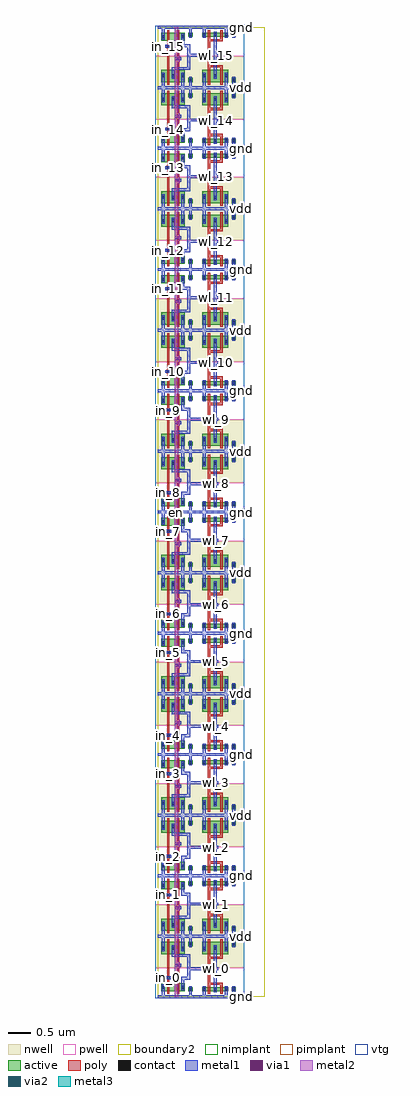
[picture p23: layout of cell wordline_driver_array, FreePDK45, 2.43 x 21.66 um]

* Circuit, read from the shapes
.subckt wordline_driver_array en gnd in_0 in_1 in_10 in_11 in_12 in_13 in_14 in_15 in_2 in_3 in_4 in_5 in_6 in_7 in_8 in_9 vdd wl_0 wl_1 wl_10 wl_11 wl_12 wl_13 wl_14 wl_15 wl_2 wl_3 wl_4 wl_5 wl_6 wl_7 wl_8 wl_9
M1 wordline_driver_0/pnand2_0/nmos_m1_w0_180_sm1_dactive_2/D in_0 gnd gnd nfet w=0.18u l=0.05u
M2 wordline_driver_1/pnand2_0/nmos_m1_w0_180_sm1_dactive_2/D in_1 gnd gnd nfet w=0.18u l=0.05u
M3 wordline_driver_2/pnand2_0/nmos_m1_w0_180_sm1_dactive_2/D in_2 gnd gnd nfet w=0.18u l=0.05u
M4 wordline_driver_3/pnand2_0/nmos_m1_w0_180_sm1_dactive_2/D in_3 gnd gnd nfet w=0.18u l=0.05u
M5 wordline_driver_4/pnand2_0/nmos_m1_w0_180_sm1_dactive_2/D in_4 gnd gnd nfet w=0.18u l=0.05u
M6 wordline_driver_5/pnand2_0/nmos_m1_w0_180_sm1_dactive_2/D in_5 gnd gnd nfet w=0.18u l=0.05u
M7 wordline_driver_6/pnand2_0/nmos_m1_w0_180_sm1_dactive_2/D in_6 gnd gnd nfet w=0.18u l=0.05u
M8 wordline_driver_7/pnand2_0/nmos_m1_w0_180_sm1_dactive_2/D in_7 gnd gnd nfet w=0.18u l=0.05u
M9 wordline_driver_8/pnand2_0/nmos_m1_w0_180_sm1_dactive_2/D in_8 gnd gnd nfet w=0.18u l=0.05u
M10 wordline_driver_9/pnand2_0/nmos_m1_w0_180_sm1_dactive_2/D in_9 gnd gnd nfet w=0.18u l=0.05u
M11 wordline_driver_10/pnand2_0/nmos_m1_w0_180_sm1_dactive_2/D in_10 gnd gnd nfet w=0.18u l=0.05u
M12 wordline_driver_11/pnand2_0/nmos_m1_w0_180_sm1_dactive_2/D in_11 gnd gnd nfet w=0.18u l=0.05u
M13 wordline_driver_12/pnand2_0/nmos_m1_w0_180_sm1_dactive_2/D in_12 gnd gnd nfet w=0.18u l=0.05u
M14 wordline_driver_13/pnand2_0/nmos_m1_w0_180_sm1_dactive_2/D in_13 gnd gnd nfet w=0.18u l=0.05u
M15 wordline_driver_14/pnand2_0/nmos_m1_w0_180_sm1_dactive_2/D in_14 gnd gnd nfet w=0.18u l=0.05u
M16 wordline_driver_15/pnand2_0/nmos_m1_w0_180_sm1_dactive_2/D in_15 gnd gnd nfet w=0.18u l=0.05u
M17 wordline_driver_0/pinv_0_1/A en wordline_driver_0/pnand2_0/nmos_m1_w0_180_sm1_dactive_2/D gnd nfet w=0.18u l=0.05u
M18 wordline_driver_1/pinv_0_1/A en wordline_driver_1/pnand2_0/nmos_m1_w0_180_sm1_dactive_2/D gnd nfet w=0.18u l=0.05u
M19 wordline_driver_2/pinv_0_1/A en wordline_driver_2/pnand2_0/nmos_m1_w0_180_sm1_dactive_2/D gnd nfet w=0.18u l=0.05u
M20 wordline_driver_3/pinv_0_1/A en wordline_driver_3/pnand2_0/nmos_m1_w0_180_sm1_dactive_2/D gnd nfet w=0.18u l=0.05u
M21 wordline_driver_4/pinv_0_1/A en wordline_driver_4/pnand2_0/nmos_m1_w0_180_sm1_dactive_2/D gnd nfet w=0.18u l=0.05u
M22 wordline_driver_5/pinv_0_1/A en wordline_driver_5/pnand2_0/nmos_m1_w0_180_sm1_dactive_2/D gnd nfet w=0.18u l=0.05u
M23 wordline_driver_6/pinv_0_1/A en wordline_driver_6/pnand2_0/nmos_m1_w0_180_sm1_dactive_2/D gnd nfet w=0.18u l=0.05u
M24 wordline_driver_7/pinv_0_1/A en wordline_driver_7/pnand2_0/nmos_m1_w0_180_sm1_dactive_2/D gnd nfet w=0.18u l=0.05u
M25 wordline_driver_8/pinv_0_1/A en wordline_driver_8/pnand2_0/nmos_m1_w0_180_sm1_dactive_2/D gnd nfet w=0.18u l=0.05u
M26 wordline_driver_9/pinv_0_1/A en wordline_driver_9/pnand2_0/nmos_m1_w0_180_sm1_dactive_2/D gnd nfet w=0.18u l=0.05u
M27 wordline_driver_10/pinv_0_1/A en wordline_driver_10/pnand2_0/nmos_m1_w0_180_sm1_dactive_2/D gnd nfet w=0.18u l=0.05u
M28 wordline_driver_11/pinv_0_1/A en wordline_driver_11/pnand2_0/nmos_m1_w0_180_sm1_dactive_2/D gnd nfet w=0.18u l=0.05u
M29 wordline_driver_12/pinv_0_1/A en wordline_driver_12/pnand2_0/nmos_m1_w0_180_sm1_dactive_2/D gnd nfet w=0.18u l=0.05u
M30 wordline_driver_13/pinv_0_1/A en wordline_driver_13/pnand2_0/nmos_m1_w0_180_sm1_dactive_2/D gnd nfet w=0.18u l=0.05u
M31 wordline_driver_14/pinv_0_1/A en wordline_driver_14/pnand2_0/nmos_m1_w0_180_sm1_dactive_2/D gnd nfet w=0.18u l=0.05u
M32 wordline_driver_15/pinv_0_1/A en wordline_driver_15/pnand2_0/nmos_m1_w0_180_sm1_dactive_2/D gnd nfet w=0.18u l=0.05u
M33 wl_0 wordline_driver_0/pinv_0_1/A gnd gnd nfet w=0.09u l=0.05u m=2
M34 wl_1 wordline_driver_1/pinv_0_1/A gnd gnd nfet w=0.09u l=0.05u m=2
M35 wl_2 wordline_driver_2/pinv_0_1/A gnd gnd nfet w=0.09u l=0.05u m=2
M36 wl_3 wordline_driver_3/pinv_0_1/A gnd gnd nfet w=0.09u l=0.05u m=2
M37 wl_4 wordline_driver_4/pinv_0_1/A gnd gnd nfet w=0.09u l=0.05u m=2
M38 wl_5 wordline_driver_5/pinv_0_1/A gnd gnd nfet w=0.09u l=0.05u m=2
M39 wl_6 wordline_driver_6/pinv_0_1/A gnd gnd nfet w=0.09u l=0.05u m=2
M40 wl_7 wordline_driver_7/pinv_0_1/A gnd gnd nfet w=0.09u l=0.05u m=2
M41 wl_8 wordline_driver_8/pinv_0_1/A gnd gnd nfet w=0.09u l=0.05u m=2
M42 wl_9 wordline_driver_9/pinv_0_1/A gnd gnd nfet w=0.09u l=0.05u m=2
M43 wl_10 wordline_driver_10/pinv_0_1/A gnd gnd nfet w=0.09u l=0.05u m=2
M44 wl_11 wordline_driver_11/pinv_0_1/A gnd gnd nfet w=0.09u l=0.05u m=2
M45 wl_12 wordline_driver_12/pinv_0_1/A gnd gnd nfet w=0.09u l=0.05u m=2
M46 wl_13 wordline_driver_13/pinv_0_1/A gnd gnd nfet w=0.09u l=0.05u m=2
M47 wl_14 wordline_driver_14/pinv_0_1/A gnd gnd nfet w=0.09u l=0.05u m=2
M48 wl_15 wordline_driver_15/pinv_0_1/A gnd gnd nfet w=0.09u l=0.05u m=2
M49 wordline_driver_0/pinv_0_1/A in_0 vdd vdd pfet w=0.27u l=0.05u
M50 wordline_driver_1/pinv_0_1/A in_1 vdd vdd pfet w=0.27u l=0.05u
M51 wordline_driver_2/pinv_0_1/A in_2 vdd vdd pfet w=0.27u l=0.05u
M52 wordline_driver_3/pinv_0_1/A in_3 vdd vdd pfet w=0.27u l=0.05u
M53 wordline_driver_4/pinv_0_1/A in_4 vdd vdd pfet w=0.27u l=0.05u
M54 wordline_driver_5/pinv_0_1/A in_5 vdd vdd pfet w=0.27u l=0.05u
M55 wordline_driver_6/pinv_0_1/A in_6 vdd vdd pfet w=0.27u l=0.05u
M56 wordline_driver_7/pinv_0_1/A in_7 vdd vdd pfet w=0.27u l=0.05u
M57 wordline_driver_8/pinv_0_1/A in_8 vdd vdd pfet w=0.27u l=0.05u
M58 wordline_driver_9/pinv_0_1/A in_9 vdd vdd pfet w=0.27u l=0.05u
M59 wordline_driver_10/pinv_0_1/A in_10 vdd vdd pfet w=0.27u l=0.05u
M60 wordline_driver_11/pinv_0_1/A in_11 vdd vdd pfet w=0.27u l=0.05u
M61 wordline_driver_12/pinv_0_1/A in_12 vdd vdd pfet w=0.27u l=0.05u
M62 wordline_driver_13/pinv_0_1/A in_13 vdd vdd pfet w=0.27u l=0.05u
M63 wordline_driver_14/pinv_0_1/A in_14 vdd vdd pfet w=0.27u l=0.05u
M64 wordline_driver_15/pinv_0_1/A in_15 vdd vdd pfet w=0.27u l=0.05u
M65 vdd en wordline_driver_0/pinv_0_1/A vdd pfet w=0.27u l=0.05u
M66 vdd en wordline_driver_1/pinv_0_1/A vdd pfet w=0.27u l=0.05u
M67 vdd en wordline_driver_2/pinv_0_1/A vdd pfet w=0.27u l=0.05u
M68 vdd en wordline_driver_3/pinv_0_1/A vdd pfet w=0.27u l=0.05u
M69 vdd en wordline_driver_4/pinv_0_1/A vdd pfet w=0.27u l=0.05u
M70 vdd en wordline_driver_5/pinv_0_1/A vdd pfet w=0.27u l=0.05u
M71 vdd en wordline_driver_6/pinv_0_1/A vdd pfet w=0.27u l=0.05u
M72 vdd en wordline_driver_7/pinv_0_1/A vdd pfet w=0.27u l=0.05u
M73 vdd en wordline_driver_8/pinv_0_1/A vdd pfet w=0.27u l=0.05u
M74 vdd en wordline_driver_9/pinv_0_1/A vdd pfet w=0.27u l=0.05u
M75 vdd en wordline_driver_10/pinv_0_1/A vdd pfet w=0.27u l=0.05u
M76 vdd en wordline_driver_11/pinv_0_1/A vdd pfet w=0.27u l=0.05u
M77 vdd en wordline_driver_12/pinv_0_1/A vdd pfet w=0.27u l=0.05u
M78 vdd en wordline_driver_13/pinv_0_1/A vdd pfet w=0.27u l=0.05u
M79 vdd en wordline_driver_14/pinv_0_1/A vdd pfet w=0.27u l=0.05u
M80 vdd en wordline_driver_15/pinv_0_1/A vdd pfet w=0.27u l=0.05u
M81 wl_0 wordline_driver_0/pinv_0_1/A vdd vdd pfet w=0.27u l=0.05u m=2
M82 wl_1 wordline_driver_1/pinv_0_1/A vdd vdd pfet w=0.27u l=0.05u m=2
M83 wl_2 wordline_driver_2/pinv_0_1/A vdd vdd pfet w=0.27u l=0.05u m=2
M84 wl_3 wordline_driver_3/pinv_0_1/A vdd vdd pfet w=0.27u l=0.05u m=2
M85 wl_4 wordline_driver_4/pinv_0_1/A vdd vdd pfet w=0.27u l=0.05u m=2
M86 wl_5 wordline_driver_5/pinv_0_1/A vdd vdd pfet w=0.27u l=0.05u m=2
M87 wl_6 wordline_driver_6/pinv_0_1/A vdd vdd pfet w=0.27u l=0.05u m=2
M88 wl_7 wordline_driver_7/pinv_0_1/A vdd vdd pfet w=0.27u l=0.05u m=2
M89 wl_8 wordline_driver_8/pinv_0_1/A vdd vdd pfet w=0.27u l=0.05u m=2
M90 wl_9 wordline_driver_9/pinv_0_1/A vdd vdd pfet w=0.27u l=0.05u m=2
M91 wl_10 wordline_driver_10/pinv_0_1/A vdd vdd pfet w=0.27u l=0.05u m=2
M92 wl_11 wordline_driver_11/pinv_0_1/A vdd vdd pfet w=0.27u l=0.05u m=2
M93 wl_12 wordline_driver_12/pinv_0_1/A vdd vdd pfet w=0.27u l=0.05u m=2
M94 wl_13 wordline_driver_13/pinv_0_1/A vdd vdd pfet w=0.27u l=0.05u m=2
M95 wl_14 wordline_driver_14/pinv_0_1/A vdd vdd pfet w=0.27u l=0.05u m=2
M96 wl_15 wordline_driver_15/pinv_0_1/A vdd vdd pfet w=0.27u l=0.05u m=2
.ends

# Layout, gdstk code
import gdstk
lib = gdstk.Library(unit=1e-6, precision=5e-10)
def R(c, l, rs):  # rectangles x0, y0, x1, y1
    for r in rs: c.add(gdstk.rectangle(r[:2], r[2:], *l))
def A(c, l, x, y, w, h, nx, ny, dx, dy):  # array of equal rectangles
    R(c, l, [(x+i*dx, y+j*dy, x+i*dx+w, y+j*dy+h) for i in range(nx) for j in range(ny)])
active = (1, 0)
pwell = (2, 0)
nwell = (3, 0)
nimplant = (4, 0)
pimplant = (5, 0)
vtg = (6, 0)
poly = (9, 0)
contact = (10, 0)
metal1 = (11, 0)
via1 = (12, 0)
metal2 = (13, 0)
via2 = (14, 0)
metal3 = (15, 0)
boundary2 = (239, 0)

contact_11 = lib.new_cell('contact_11')
R(contact_11, active, [(0,0.0225,0.09,0.1125)])
R(contact_11, nwell, [(-0.055,-0.0325,0.145,0.1675)])
R(contact_11, pimplant, [(0,0.0225,0.09,0.1125)])
R(contact_11, contact, [(0.0125,0.035,0.0775,0.1)])
R(contact_11, metal1, [(0.0125,0,0.0775,0.135)])
R(contact_11, boundary2, [(-0.055,-0.0325,0.145,0.1675)])

pmos_m1_w0_270_sm1_dm1 = lib.new_cell('pmos_m1_w0_270_sm1_dm1')
R(pmos_m1_w0_270_sm1_dm1, active, [(0,0,0.305,0.27)])
R(pmos_m1_w0_270_sm1_dm1, nwell, [(-0.08,-0.08,0.385,0.35)])
R(pmos_m1_w0_270_sm1_dm1, pimplant, [(0,0,0.305,0.27)])
R(pmos_m1_w0_270_sm1_dm1, vtg, [(-0.08,-0.08,0.385,0.35)])
R(pmos_m1_w0_270_sm1_dm1, poly, [(0.1275,-0.055,0.1775,0.325), (0.1275,-0.055,0.1775,0.325)])
R(pmos_m1_w0_270_sm1_dm1, metal1, [(0.0125,0.0675,0.0775,0.2025), (0.2275,0.0675,0.2925,0.2025)])
R(pmos_m1_w0_270_sm1_dm1, boundary2, [(-0.08,-0.08,0.385,0.35)])
pmos_m1_w0_270_sm1_dm1.add(gdstk.Reference(contact_11, (0,0.0675)))
pmos_m1_w0_270_sm1_dm1.add(gdstk.Reference(contact_11, (0.215,0.0675)))
pmos_m1_w0_270_sm1_dm1.add(gdstk.Label('G', (0.1525,0.135), layer=9, texttype=0))
pmos_m1_w0_270_sm1_dm1.add(gdstk.Label('S', (0.045,0.135), layer=11, texttype=0))
pmos_m1_w0_270_sm1_dm1.add(gdstk.Label('D', (0.26,0.135), layer=11, texttype=0))

contact_10 = lib.new_cell('contact_10')
R(contact_10, active, [(0,0.0225,0.09,0.1125)])
R(contact_10, pwell, [(-0.055,-0.0325,0.145,0.1675)])
R(contact_10, nimplant, [(0,0.0225,0.09,0.1125)])
R(contact_10, contact, [(0.0125,0.035,0.0775,0.1)])
R(contact_10, metal1, [(0.0125,0,0.0775,0.135)])
R(contact_10, boundary2, [(-0.055,-0.0325,0.145,0.1675)])

nmos_m1_w0_180_sm1_dacti = lib.new_cell('nmos_m1_w0_180_sm1_dactive')
R(nmos_m1_w0_180_sm1_dacti, active, [(0,0,0.305,0.18), (0.215,0.045,0.305,0.135)])
R(nmos_m1_w0_180_sm1_dacti, pwell, [(-0.08,-0.08,0.385,0.26)])
R(nmos_m1_w0_180_sm1_dacti, nimplant, [(0,0,0.305,0.18)])
R(nmos_m1_w0_180_sm1_dacti, vtg, [(-0.08,-0.08,0.385,0.26)])
R(nmos_m1_w0_180_sm1_dacti, poly, [(0.1275,-0.055,0.1775,0.235), (0.1275,-0.055,0.1775,0.235)])
R(nmos_m1_w0_180_sm1_dacti, metal1, [(0.0125,0.0225,0.0775,0.1575)])
R(nmos_m1_w0_180_sm1_dacti, boundary2, [(-0.08,-0.08,0.385,0.26)])
nmos_m1_w0_180_sm1_dacti.add(gdstk.Reference(contact_10, (0,0.0225)))
nmos_m1_w0_180_sm1_dacti.add(gdstk.Label('G', (0.1525,0.09), layer=9, texttype=0))
nmos_m1_w0_180_sm1_dacti.add(gdstk.Label('S', (0.045,0.09), layer=11, texttype=0))
nmos_m1_w0_180_sm1_dacti.add(gdstk.Label('D', (0.26,0.09), layer=1, texttype=0))

nmos_m1_w0_180_sactive_d = lib.new_cell('nmos_m1_w0_180_sactive_dm1')
R(nmos_m1_w0_180_sactive_d, active, [(0,0,0.305,0.18), (0,0.045,0.09,0.135)])
R(nmos_m1_w0_180_sactive_d, pwell, [(-0.08,-0.08,0.385,0.26)])
R(nmos_m1_w0_180_sactive_d, nimplant, [(0,0,0.305,0.18)])
R(nmos_m1_w0_180_sactive_d, vtg, [(-0.08,-0.08,0.385,0.26)])
R(nmos_m1_w0_180_sactive_d, poly, [(0.1275,-0.055,0.1775,0.235), (0.1275,-0.055,0.1775,0.235)])
R(nmos_m1_w0_180_sactive_d, metal1, [(0.2275,0.0225,0.2925,0.1575)])
R(nmos_m1_w0_180_sactive_d, boundary2, [(-0.08,-0.08,0.385,0.26)])
nmos_m1_w0_180_sactive_d.add(gdstk.Reference(contact_10, (0.215,0.0225)))
nmos_m1_w0_180_sactive_d.add(gdstk.Label('G', (0.1525,0.09), layer=9, texttype=0))
nmos_m1_w0_180_sactive_d.add(gdstk.Label('S', (0.045,0.09), layer=1, texttype=0))
nmos_m1_w0_180_sactive_d.add(gdstk.Label('D', (0.26,0.09), layer=11, texttype=0))

contact_12 = lib.new_cell('contact_12')
R(contact_12, active, [(0,0.0225,0.09,0.1125)])
R(contact_12, nwell, [(-0.055,-0.0325,0.145,0.1675)])
R(contact_12, nimplant, [(0,0.0225,0.09,0.1125)])
R(contact_12, contact, [(0.0125,0.035,0.0775,0.1)])
R(contact_12, metal1, [(0.0125,0,0.0775,0.135)])
R(contact_12, boundary2, [(-0.055,-0.0325,0.145,0.1675)])

contact_13 = lib.new_cell('contact_13')
R(contact_13, active, [(0,0.0225,0.09,0.1125)])
R(contact_13, pwell, [(-0.055,-0.0325,0.145,0.1675)])
R(contact_13, pimplant, [(0,0.0225,0.09,0.1125)])
R(contact_13, contact, [(0.0125,0.035,0.0775,0.1)])
R(contact_13, metal1, [(0.0125,0,0.0775,0.135)])
R(contact_13, boundary2, [(-0.055,-0.0325,0.145,0.1675)])

contact_14 = lib.new_cell('contact_14')
R(contact_14, poly, [(0.03,0,0.105,0.075)])
R(contact_14, contact, [(0.035,0.005,0.1,0.07)])
R(contact_14, metal1, [(0,0.005,0.135,0.07)])
R(contact_14, boundary2, [(0,0,0.135,0.075)])

pnand2 = lib.new_cell('pnand2')
R(pnand2, pwell, [(-0.055,-0.0325,0.9575,0.645)])
R(pnand2, nwell, [(-0.055,0.645,0.9575,1.38)])
R(pnand2, vtg, [(-0.055,-0.0325,0.9575,0.645), (-0.055,0.645,0.9575,1.38)])
R(pnand2, poly, [(0.2075,0.36,0.2575,0.895), (0.4225,0.36,0.4725,0.895), (0.2075,0.39,0.2325,0.465), (0.4225,0.67,0.4475,0.745)])
R(pnand2, metal1, [(0,-0.0325,0.9025,0.0325), (0.0925,-0.0325,0.1575,0.1475), (0.6925,0,0.7575,0.17), (0.5225,0.2825,0.5875,0.4125), (0.5225,0.38,0.5875,0.445), (0.555,0.38,0.685,0.445), (0.6525,0.38,0.7175,0.445), (0.165,0.395,0.3,0.46), (0.6525,0.4125,0.7175,0.92), (0.38,0.675,0.515,0.74), (0.3075,0.8875,0.3725,0.9525), (0.34,0.8875,0.685,0.9525), (0.6525,0.8875,0.7175,0.9525), (0.3075,0.92,0.3725,1.0175), (0.0925,1.0175,0.1575,1.3775), (0.5225,1.0175,0.5875,1.3775), (0.6925,1.175,0.7575,1.345), (0,1.3125,0.9025,1.3775)])
R(pnand2, boundary2, [(0,0,0.9025,1.345), (0,0,0.9025,1.345)])
pnand2.add(gdstk.Reference(pmos_m1_w0_270_sm1_dm1, (0.08,0.95)))
pnand2.add(gdstk.Reference(pmos_m1_w0_270_sm1_dm1, (0.295,0.95)))
pnand2.add(gdstk.Reference(nmos_m1_w0_180_sm1_dacti, (0.08,0.125)))
pnand2.add(gdstk.Reference(nmos_m1_w0_180_sactive_d, (0.295,0.125)))
pnand2.add(gdstk.Reference(contact_12, (0.68,1.1075)))
pnand2.add(gdstk.Reference(contact_13, (0.68,0.1025)))
pnand2.add(gdstk.Reference(contact_14, (0.165,0.39)))
pnand2.add(gdstk.Reference(contact_14, (0.38,0.67)))
pnand2.add(gdstk.Label('Z', (0.685,0.92), layer=11, texttype=0))
pnand2.add(gdstk.Label('gnd', (0.451,0), layer=11, texttype=0))
pnand2.add(gdstk.Label('vdd', (0.451,1.345), layer=11, texttype=0))
pnand2.add(gdstk.Label('A', (0.2325,0.4275), layer=11, texttype=0))
pnand2.add(gdstk.Label('B', (0.4475,0.7075), layer=11, texttype=0))

pmos_m2_w0_270_sm1_dm1_d = lib.new_cell('pmos_m2_w0_270_sm1_dm1_da_p')
R(pmos_m2_w0_270_sm1_dm1_d, active, [(0,0,0.58,0.27)])
R(pmos_m2_w0_270_sm1_dm1_d, nwell, [(-0.08,-0.08,0.66,0.35)])
R(pmos_m2_w0_270_sm1_dm1_d, pimplant, [(0,0,0.58,0.27)])
R(pmos_m2_w0_270_sm1_dm1_d, vtg, [(-0.08,-0.08,0.66,0.35)])
R(pmos_m2_w0_270_sm1_dm1_d, poly, [(0.1275,-0.105,0.4525,-0.055), (0.1275,-0.055,0.1775,0.325), (0.4025,-0.055,0.4525,0.325)])
A(pmos_m2_w0_270_sm1_dm1_d, metal1, 0.0125, 0.0675, 0.065, 0.135, 3, 1, 0.245, 0)
R(pmos_m2_w0_270_sm1_dm1_d, boundary2, [(-0.08,-0.105,0.66,0.35)])
pmos_m2_w0_270_sm1_dm1_d.add(gdstk.Reference(contact_11, (0,0.0675)))
pmos_m2_w0_270_sm1_dm1_d.add(gdstk.Reference(contact_11, (0.245,0.0675)))
pmos_m2_w0_270_sm1_dm1_d.add(gdstk.Reference(contact_11, (0.49,0.0675)))
pmos_m2_w0_270_sm1_dm1_d.add(gdstk.Label('G', (0.29,-0.08), layer=9, texttype=0))
pmos_m2_w0_270_sm1_dm1_d.add(gdstk.Label('S', (0.535,0.135), layer=11, texttype=0))
pmos_m2_w0_270_sm1_dm1_d.add(gdstk.Label('S', (0.045,0.135), layer=11, texttype=0))
pmos_m2_w0_270_sm1_dm1_d.add(gdstk.Label('D', (0.29,0.135), layer=11, texttype=0))

nmos_m2_w0_090_sm1_dm1_d = lib.new_cell('nmos_m2_w0_090_sm1_dm1_da_p')
R(nmos_m2_w0_090_sm1_dm1_d, active, [(0,0,0.58,0.09)])
R(nmos_m2_w0_090_sm1_dm1_d, pwell, [(-0.08,-0.08,0.66,0.17)])
R(nmos_m2_w0_090_sm1_dm1_d, nimplant, [(0,0,0.58,0.09)])
R(nmos_m2_w0_090_sm1_dm1_d, vtg, [(-0.08,-0.08,0.66,0.17)])
R(nmos_m2_w0_090_sm1_dm1_d, poly, [(0.1275,-0.055,0.1775,0.145), (0.4025,-0.055,0.4525,0.145), (0.1275,0.145,0.4525,0.195)])
A(nmos_m2_w0_090_sm1_dm1_d, metal1, 0.0125, -0.0225, 0.065, 0.135, 3, 1, 0.245, 0)
R(nmos_m2_w0_090_sm1_dm1_d, boundary2, [(-0.08,-0.08,0.66,0.195)])
nmos_m2_w0_090_sm1_dm1_d.add(gdstk.Reference(contact_10, (0,-0.0225)))
nmos_m2_w0_090_sm1_dm1_d.add(gdstk.Reference(contact_10, (0.245,-0.0225)))
nmos_m2_w0_090_sm1_dm1_d.add(gdstk.Reference(contact_10, (0.49,-0.0225)))
nmos_m2_w0_090_sm1_dm1_d.add(gdstk.Label('G', (0.29,0.17), layer=9, texttype=0))
nmos_m2_w0_090_sm1_dm1_d.add(gdstk.Label('S', (0.045,0.045), layer=11, texttype=0))
nmos_m2_w0_090_sm1_dm1_d.add(gdstk.Label('S', (0.535,0.045), layer=11, texttype=0))
nmos_m2_w0_090_sm1_dm1_d.add(gdstk.Label('D', (0.29,0.045), layer=11, texttype=0))

pinv_0 = lib.new_cell('pinv_0')
R(pinv_0, pwell, [(-0.055,-0.0325,1.0175,0.645)])
R(pinv_0, nwell, [(-0.055,0.645,1.0175,1.38)])
R(pinv_0, vtg, [(-0.055,-0.0325,1.0175,0.645), (-0.055,0.645,1.0175,1.38)])
R(pinv_0, poly, [(0.2075,0.32,0.2575,0.845), (0.14,0.59,0.2075,0.665)])
R(pinv_0, metal1, [(0,-0.0325,0.9625,0.0325), (0.0925,-0.0325,0.1575,0.1025), (0.5825,-0.0325,0.6475,0.1025), (0.7525,0,0.8175,0.17), (0.3375,0.1025,0.4025,1.1525), (0.0725,0.595,0.2075,0.66), (0.37,0.595,0.435,0.66), (0.0925,1.0175,0.1575,1.3775), (0.5825,1.0175,0.6475,1.3775), (0.7525,1.175,0.8175,1.345), (0,1.3125,0.9625,1.3775)])
R(pinv_0, boundary2, [(0,0,0.9625,1.345), (0,0,0.9625,1.345)])
pinv_0.add(gdstk.Reference(pmos_m2_w0_270_sm1_dm1_d, (0.08,0.95)))
pinv_0.add(gdstk.Reference(nmos_m2_w0_090_sm1_dm1_d, (0.08,0.125)))
pinv_0.add(gdstk.Reference(contact_12, (0.74,1.1075)))
pinv_0.add(gdstk.Reference(contact_13, (0.74,0.1025)))
pinv_0.add(gdstk.Reference(contact_14, (0.0725,0.59)))
pinv_0.add(gdstk.Label('A', (0.14,0.6275), layer=11, texttype=0))
pinv_0.add(gdstk.Label('Z', (0.4025,0.6275), layer=11, texttype=0))
pinv_0.add(gdstk.Label('gnd', (0.481,0), layer=11, texttype=0))
pinv_0.add(gdstk.Label('vdd', (0.481,1.345), layer=11, texttype=0))

wordline_driver = lib.new_cell('wordline_driver')
R(wordline_driver, metal1, [(0,-0.0325,1.865,0.0325), (0.165,0.395,0.3,0.46), (0.6525,0.595,0.7175,0.66), (0.685,0.595,1.0425,0.66), (1.2725,0.595,1.3375,0.66), (0.6525,0.6275,0.7175,0.92), (0.38,0.675,0.515,0.74), (0,1.3125,1.865,1.3775)])
R(wordline_driver, boundary2, [(0,0,1.865,1.345)])
wordline_driver.add(gdstk.Reference(pnand2, (0,0)))
wordline_driver.add(gdstk.Reference(pinv_0, (0.9025,0)))
wordline_driver.add(gdstk.Label('Z', (1.305,0.6275), layer=11, texttype=0))
wordline_driver.add(gdstk.Label('A', (0.2325,0.4275), layer=11, texttype=0))
wordline_driver.add(gdstk.Label('B', (0.4475,0.7075), layer=11, texttype=0))
wordline_driver.add(gdstk.Label('gnd', (0.9325,0), layer=11, texttype=0))
wordline_driver.add(gdstk.Label('vdd', (0.9325,1.345), layer=11, texttype=0))

contact_17 = lib.new_cell('contact_17')
R(contact_17, metal1, [(0,0.035,0.135,0.1)])
R(contact_17, via1, [(0.035,0.035,0.1,0.1)])
R(contact_17, metal2, [(0.0325,0,0.1025,0.135)])
R(contact_17, boundary2, [(0,0,0.135,0.135)])

contact_6 = lib.new_cell('contact_6')
R(contact_6, metal2, [(0.0325,0,0.1025,0.135)])
R(contact_6, via2, [(0.035,0.035,0.1,0.1)])
R(contact_6, metal3, [(0,0.0325,0.135,0.1025)])
R(contact_6, boundary2, [(0,0,0.135,0.135)])

wordline_driver_array = lib.new_cell('wordline_driver_array')
R(wordline_driver_array, metal1, [(0.165,0.395,0.3,0.46), (1.2725,0.595,1.3375,0.66), (1.2725,2.03,1.3375,2.095), (0.165,2.23,0.3,2.295), (0.165,3.085,0.3,3.15), (1.2725,3.285,1.3375,3.35), (1.2725,4.72,1.3375,4.785), (0.165,4.92,0.3,4.985), (0.165,5.775,0.3,5.84), (1.2725,5.975,1.3375,6.04), (1.2725,7.41,1.3375,7.475), (0.165,7.61,0.3,7.675), (0.165,8.465,0.3,8.53), (1.2725,8.665,1.3375,8.73), (1.2725,10.1,1.3375,10.165), (0.165,10.3,0.3,10.365), (0.165,11.155,0.3,11.22), (1.2725,11.355,1.3375,11.42), (1.2725,12.79,1.3375,12.855), (0.165,12.99,0.3,13.055), (0.165,13.845,0.3,13.91), (1.2725,14.045,1.3375,14.11), (1.2725,15.48,1.3375,15.545), (0.165,15.68,0.3,15.745), (0.165,16.535,0.3,16.6), (1.2725,16.735,1.3375,16.8), (1.2725,18.17,1.3375,18.235), (0.165,18.37,0.3,18.435), (0.165,19.225,0.3,19.29), (1.2725,19.425,1.3375,19.49), (1.2725,20.86,1.3375,20.925), (0.165,21.06,0.3,21.125)])
R(wordline_driver_array, metal2, [(0.38,0,0.45,21.52)])
A(wordline_driver_array, metal3, 1.7975, -0.0675, 0.135, 0.135, 1, 6, 0, 1.345)
A(wordline_driver_array, metal3, 1.7975, 6.6575, 0.135, 0.135, 1, 11, 0, 1.345)
R(wordline_driver_array, metal3, [(1.7975,20.1075,1.9325,20.2425), (1.7975,21.4525,1.9325,21.5875)])
R(wordline_driver_array, boundary2, [(0,0,2.37,21.52)])
wordline_driver_array.add(gdstk.Reference(wordline_driver, (0,0)))
wordline_driver_array.add(gdstk.Reference(wordline_driver, (0,2.69), x_reflection=True))
wordline_driver_array.add(gdstk.Reference(wordline_driver, (0,2.69)))
wordline_driver_array.add(gdstk.Reference(wordline_driver, (0,5.38), x_reflection=True))
wordline_driver_array.add(gdstk.Reference(wordline_driver, (0,5.38)))
wordline_driver_array.add(gdstk.Reference(wordline_driver, (0,8.07), x_reflection=True))
wordline_driver_array.add(gdstk.Reference(wordline_driver, (0,8.07)))
wordline_driver_array.add(gdstk.Reference(wordline_driver, (0,10.76), x_reflection=True))
wordline_driver_array.add(gdstk.Reference(wordline_driver, (0,10.76)))
wordline_driver_array.add(gdstk.Reference(wordline_driver, (0,13.45), x_reflection=True))
wordline_driver_array.add(gdstk.Reference(wordline_driver, (0,13.45)))
wordline_driver_array.add(gdstk.Reference(wordline_driver, (0,16.14), x_reflection=True))
wordline_driver_array.add(gdstk.Reference(wordline_driver, (0,16.14)))
wordline_driver_array.add(gdstk.Reference(wordline_driver, (0,18.83), x_reflection=True))
wordline_driver_array.add(gdstk.Reference(wordline_driver, (0,18.83)))
wordline_driver_array.add(gdstk.Reference(wordline_driver, (0,21.52), x_reflection=True))
wordline_driver_array.add(gdstk.Reference(contact_17, (0.38,0.64)))
wordline_driver_array.add(gdstk.Reference(contact_17, (0.38,1.915)))
wordline_driver_array.add(gdstk.Reference(contact_17, (0.38,3.33)))
wordline_driver_array.add(gdstk.Reference(contact_17, (0.38,4.605)))
wordline_driver_array.add(gdstk.Reference(contact_17, (0.38,6.02)))
wordline_driver_array.add(gdstk.Reference(contact_17, (0.38,7.295)))
wordline_driver_array.add(gdstk.Reference(contact_17, (0.38,8.71)))
wordline_driver_array.add(gdstk.Reference(contact_17, (0.38,9.985)))
wordline_driver_array.add(gdstk.Reference(contact_17, (0.38,11.4)))
wordline_driver_array.add(gdstk.Reference(contact_17, (0.38,12.675)))
wordline_driver_array.add(gdstk.Reference(contact_17, (0.38,14.09)))
wordline_driver_array.add(gdstk.Reference(contact_17, (0.38,15.365)))
wordline_driver_array.add(gdstk.Reference(contact_17, (0.38,16.78)))
wordline_driver_array.add(gdstk.Reference(contact_17, (0.38,18.055)))
wordline_driver_array.add(gdstk.Reference(contact_17, (0.38,19.47)))
wordline_driver_array.add(gdstk.Reference(contact_17, (0.38,20.745)))
wordline_driver_array.add(gdstk.Reference(contact_17, (1.7975,1.2775)))
wordline_driver_array.add(gdstk.Reference(contact_6, (1.7975,1.2775)))
wordline_driver_array.add(gdstk.Reference(contact_17, (1.7975,-0.0675)))
wordline_driver_array.add(gdstk.Reference(contact_6, (1.7975,-0.0675)))
wordline_driver_array.add(gdstk.Reference(contact_17, (1.7975,1.2775)))
wordline_driver_array.add(gdstk.Reference(contact_6, (1.7975,1.2775)))
wordline_driver_array.add(gdstk.Reference(contact_17, (1.7975,2.6225)))
wordline_driver_array.add(gdstk.Reference(contact_6, (1.7975,2.6225)))
wordline_driver_array.add(gdstk.Reference(contact_17, (1.7975,3.9675)))
wordline_driver_array.add(gdstk.Reference(contact_6, (1.7975,3.9675)))
wordline_driver_array.add(gdstk.Reference(contact_17, (1.7975,2.6225)))
wordline_driver_array.add(gdstk.Reference(contact_6, (1.7975,2.6225)))
wordline_driver_array.add(gdstk.Reference(contact_17, (1.7975,3.9675)))
wordline_driver_array.add(gdstk.Reference(contact_6, (1.7975,3.9675)))
wordline_driver_array.add(gdstk.Reference(contact_17, (1.7975,5.3125)))
wordline_driver_array.add(gdstk.Reference(contact_6, (1.7975,5.3125)))
wordline_driver_array.add(gdstk.Reference(contact_17, (1.7975,6.6575)))
wordline_driver_array.add(gdstk.Reference(contact_6, (1.7975,6.6575)))
wordline_driver_array.add(gdstk.Reference(contact_17, (1.7975,5.3125)))
wordline_driver_array.add(gdstk.Reference(contact_6, (1.7975,5.3125)))
wordline_driver_array.add(gdstk.Reference(contact_17, (1.7975,6.6575)))
wordline_driver_array.add(gdstk.Reference(contact_6, (1.7975,6.6575)))
wordline_driver_array.add(gdstk.Reference(contact_17, (1.7975,8.0025)))
wordline_driver_array.add(gdstk.Reference(contact_6, (1.7975,8.0025)))
wordline_driver_array.add(gdstk.Reference(contact_17, (1.7975,9.3475)))
wordline_driver_array.add(gdstk.Reference(contact_6, (1.7975,9.3475)))
wordline_driver_array.add(gdstk.Reference(contact_17, (1.7975,8.0025)))
wordline_driver_array.add(gdstk.Reference(contact_6, (1.7975,8.0025)))
wordline_driver_array.add(gdstk.Reference(contact_17, (1.7975,9.3475)))
wordline_driver_array.add(gdstk.Reference(contact_6, (1.7975,9.3475)))
wordline_driver_array.add(gdstk.Reference(contact_17, (1.7975,10.6925)))
wordline_driver_array.add(gdstk.Reference(contact_6, (1.7975,10.6925)))
wordline_driver_array.add(gdstk.Reference(contact_17, (1.7975,12.0375)))
wordline_driver_array.add(gdstk.Reference(contact_6, (1.7975,12.0375)))
wordline_driver_array.add(gdstk.Reference(contact_17, (1.7975,10.6925)))
wordline_driver_array.add(gdstk.Reference(contact_6, (1.7975,10.6925)))
wordline_driver_array.add(gdstk.Reference(contact_17, (1.7975,12.0375)))
wordline_driver_array.add(gdstk.Reference(contact_6, (1.7975,12.0375)))
wordline_driver_array.add(gdstk.Reference(contact_17, (1.7975,13.3825)))
wordline_driver_array.add(gdstk.Reference(contact_6, (1.7975,13.3825)))
wordline_driver_array.add(gdstk.Reference(contact_17, (1.7975,14.7275)))
wordline_driver_array.add(gdstk.Reference(contact_6, (1.7975,14.7275)))
wordline_driver_array.add(gdstk.Reference(contact_17, (1.7975,13.3825)))
wordline_driver_array.add(gdstk.Reference(contact_6, (1.7975,13.3825)))
wordline_driver_array.add(gdstk.Reference(contact_17, (1.7975,14.7275)))
wordline_driver_array.add(gdstk.Reference(contact_6, (1.7975,14.7275)))
wordline_driver_array.add(gdstk.Reference(contact_17, (1.7975,16.0725)))
wordline_driver_array.add(gdstk.Reference(contact_6, (1.7975,16.0725)))
wordline_driver_array.add(gdstk.Reference(contact_17, (1.7975,17.4175)))
wordline_driver_array.add(gdstk.Reference(contact_6, (1.7975,17.4175)))
wordline_driver_array.add(gdstk.Reference(contact_17, (1.7975,16.0725)))
wordline_driver_array.add(gdstk.Reference(contact_6, (1.7975,16.0725)))
wordline_driver_array.add(gdstk.Reference(contact_17, (1.7975,17.4175)))
wordline_driver_array.add(gdstk.Reference(contact_6, (1.7975,17.4175)))
wordline_driver_array.add(gdstk.Reference(contact_17, (1.7975,18.7625)))
wordline_driver_array.add(gdstk.Reference(contact_6, (1.7975,18.7625)))
wordline_driver_array.add(gdstk.Reference(contact_17, (1.7975,20.1075)))
wordline_driver_array.add(gdstk.Reference(contact_6, (1.7975,20.1075)))
wordline_driver_array.add(gdstk.Reference(contact_17, (1.7975,18.7625)))
wordline_driver_array.add(gdstk.Reference(contact_6, (1.7975,18.7625)))
wordline_driver_array.add(gdstk.Reference(contact_17, (1.7975,20.1075)))
wordline_driver_array.add(gdstk.Reference(contact_6, (1.7975,20.1075)))
wordline_driver_array.add(gdstk.Reference(contact_17, (1.7975,21.4525)))
wordline_driver_array.add(gdstk.Reference(contact_6, (1.7975,21.4525)))
wordline_driver_array.add(gdstk.Label('en', (0.415,10.76), layer=13, texttype=0))
wordline_driver_array.add(gdstk.Label('in_0', (0.2325,0.4275), layer=11, texttype=0))
wordline_driver_array.add(gdstk.Label('wl_0', (1.305,0.6275), layer=11, texttype=0))
wordline_driver_array.add(gdstk.Label('in_1', (0.2325,2.2625), layer=11, texttype=0))
wordline_driver_array.add(gdstk.Label('wl_1', (1.305,2.0625), layer=11, texttype=0))
wordline_driver_array.add(gdstk.Label('in_2', (0.2325,3.1175), layer=11, texttype=0))
wordline_driver_array.add(gdstk.Label('wl_2', (1.305,3.3175), layer=11, texttype=0))
wordline_driver_array.add(gdstk.Label('in_3', (0.2325,4.9525), layer=11, texttype=0))
wordline_driver_array.add(gdstk.Label('wl_3', (1.305,4.7525), layer=11, texttype=0))
wordline_driver_array.add(gdstk.Label('in_4', (0.2325,5.8075), layer=11, texttype=0))
wordline_driver_array.add(gdstk.Label('wl_4', (1.305,6.0075), layer=11, texttype=0))
wordline_driver_array.add(gdstk.Label('in_5', (0.2325,7.6425), layer=11, texttype=0))
wordline_driver_array.add(gdstk.Label('wl_5', (1.305,7.4425), layer=11, texttype=0))
wordline_driver_array.add(gdstk.Label('in_6', (0.2325,8.4975), layer=11, texttype=0))
wordline_driver_array.add(gdstk.Label('wl_6', (1.305,8.6975), layer=11, texttype=0))
wordline_driver_array.add(gdstk.Label('in_7', (0.2325,10.3325), layer=11, texttype=0))
wordline_driver_array.add(gdstk.Label('wl_7', (1.305,10.1325), layer=11, texttype=0))
wordline_driver_array.add(gdstk.Label('in_8', (0.2325,11.1875), layer=11, texttype=0))
wordline_driver_array.add(gdstk.Label('wl_8', (1.305,11.3875), layer=11, texttype=0))
wordline_driver_array.add(gdstk.Label('in_9', (0.2325,13.0225), layer=11, texttype=0))
wordline_driver_array.add(gdstk.Label('wl_9', (1.305,12.8225), layer=11, texttype=0))
wordline_driver_array.add(gdstk.Label('in_10', (0.2325,13.8775), layer=11, texttype=0))
wordline_driver_array.add(gdstk.Label('wl_10', (1.305,14.0775), layer=11, texttype=0))
wordline_driver_array.add(gdstk.Label('in_11', (0.2325,15.7125), layer=11, texttype=0))
wordline_driver_array.add(gdstk.Label('wl_11', (1.305,15.5125), layer=11, texttype=0))
wordline_driver_array.add(gdstk.Label('in_12', (0.2325,16.5675), layer=11, texttype=0))
wordline_driver_array.add(gdstk.Label('wl_12', (1.305,16.7675), layer=11, texttype=0))
wordline_driver_array.add(gdstk.Label('in_13', (0.2325,18.4025), layer=11, texttype=0))
wordline_driver_array.add(gdstk.Label('wl_13', (1.305,18.2025), layer=11, texttype=0))
wordline_driver_array.add(gdstk.Label('in_14', (0.2325,19.2575), layer=11, texttype=0))
wordline_driver_array.add(gdstk.Label('wl_14', (1.305,19.4575), layer=11, texttype=0))
wordline_driver_array.add(gdstk.Label('in_15', (0.2325,21.0925), layer=11, texttype=0))
wordline_driver_array.add(gdstk.Label('wl_15', (1.305,20.8925), layer=11, texttype=0))
wordline_driver_array.add(gdstk.Label('vdd', (1.865,6.725), layer=15, texttype=0))
wordline_driver_array.add(gdstk.Label('vdd', (1.865,6.725), layer=15, texttype=0))
wordline_driver_array.add(gdstk.Label('vdd', (1.865,12.105), layer=15, texttype=0))
wordline_driver_array.add(gdstk.Label('vdd', (1.865,14.795), layer=15, texttype=0))
wordline_driver_array.add(gdstk.Label('vdd', (1.865,1.345), layer=15, texttype=0))
wordline_driver_array.add(gdstk.Label('vdd', (1.865,20.175), layer=15, texttype=0))
wordline_driver_array.add(gdstk.Label('vdd', (1.865,20.175), layer=15, texttype=0))
wordline_driver_array.add(gdstk.Label('vdd', (1.865,9.415), layer=15, texttype=0))
wordline_driver_array.add(gdstk.Label('vdd', (1.865,17.485), layer=15, texttype=0))
wordline_driver_array.add(gdstk.Label('vdd', (1.865,4.035), layer=15, texttype=0))
wordline_driver_array.add(gdstk.Label('gnd', (1.865,18.83), layer=15, texttype=0))
wordline_driver_array.add(gdstk.Label('gnd', (1.865,16.14), layer=15, texttype=0))
wordline_driver_array.add(gdstk.Label('gnd', (1.865,10.76), layer=15, texttype=0))
wordline_driver_array.add(gdstk.Label('gnd', (1.865,21.52), layer=15, texttype=0))
wordline_driver_array.add(gdstk.Label('gnd', (1.865,0), layer=15, texttype=0))
wordline_driver_array.add(gdstk.Label('gnd', (1.865,13.45), layer=15, texttype=0))
wordline_driver_array.add(gdstk.Label('gnd', (1.865,5.38), layer=15, texttype=0))
wordline_driver_array.add(gdstk.Label('gnd', (1.865,2.69), layer=15, texttype=0))
wordline_driver_array.add(gdstk.Label('gnd', (1.865,8.07), layer=15, texttype=0))

lib.write_gds('wordline_driver_array.gds')
